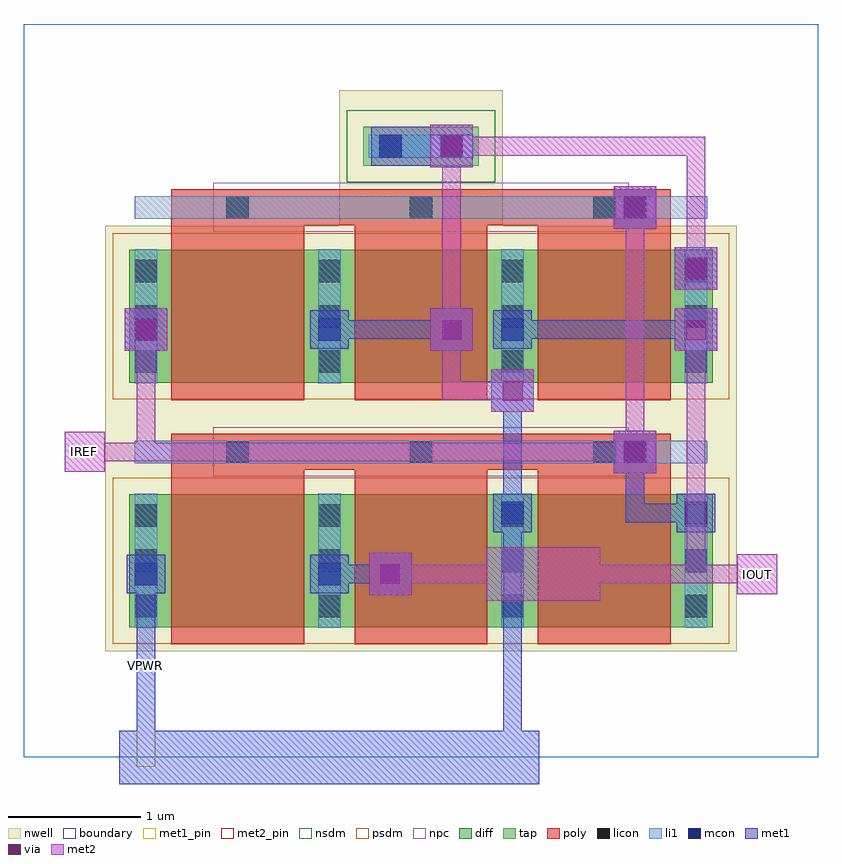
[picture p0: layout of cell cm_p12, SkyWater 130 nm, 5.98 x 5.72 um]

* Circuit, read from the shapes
.subckt cm_p12 IOUT IREF VPWR
XM1 IOUT IREF VPWR VPWR sky130_fd_pr__pfet_01v8 w=1 l=1 m=4
XM2 VPWR IREF IREF VPWR sky130_fd_pr__pfet_01v8 w=1 l=1 m=2
.ends

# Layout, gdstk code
import gdstk
lib = gdstk.Library(unit=1e-6, precision=1e-09)
def R(c, l, rs):  # rectangles x0, y0, x1, y1
    for r in rs: c.add(gdstk.rectangle(r[:2], r[2:], *l))
def A(c, l, x, y, w, h, nx, ny, dx, dy):  # array of equal rectangles
    R(c, l, [(x+i*dx, y+j*dy, x+i*dx+w, y+j*dy+h) for i in range(nx) for j in range(ny)])
nwell = (64, 20)
diff = (65, 20)
tap = (65, 44)
poly = (66, 20)
licon = (66, 44)
li1 = (67, 20)
mcon = (67, 44)
met1_pin = (68, 16)
met1 = (68, 20)
via = (68, 44)
met2_pin = (69, 16)
met2 = (69, 20)
nsdm = (93, 44)
psdm = (94, 20)
npc = (95, 20)
boundary = (235, 4)

cm_p12 = lib.new_cell('cm_p12')
R(cm_p12, nwell, [(0.615,0.8,5.365,4), (2.375,4,3.605,5.02)])
R(cm_p12, diff, [(0.795,0.98,5.185,1.98), (0.795,2.82,5.185,3.82)])
R(cm_p12, tap, [(2.555,4.455,3.425,4.745)])
A(cm_p12, poly, 1.11, 0.85, 1, 1.45, 3, 2, 1.38, 1.84)
R(cm_p12, poly, [(1.11,2.165,4.87,2.435), (1.11,4.005,4.87,4.275)])
A(cm_p12, licon, 0.835, 1.055, 0.17, 0.17, 4, 3, 1.38, 0.34)
A(cm_p12, licon, 1.525, 2.215, 0.17, 0.17, 3, 2, 1.38, 1.84)
A(cm_p12, licon, 0.835, 2.895, 0.17, 0.17, 4, 3, 1.38, 0.34)
R(cm_p12, licon, [(2.675,4.515,2.845,4.685), (3.135,4.515,3.305,4.685)])
A(cm_p12, li1, 0.835, 0.975, 0.17, 1.01, 4, 2, 1.38, 1.84)
R(cm_p12, li1, [(0.835,2.215,5.145,2.385), (0.835,4.055,5.145,4.225), (2.595,4.515,3.385,4.685)])
A(cm_p12, mcon, 0.835, 3.135, 0.17, 0.17, 3, 1, 1.38, 0)
R(cm_p12, mcon, [(0.835,1.295,1.005,1.465), (2.215,1.295,2.385,1.465), (3.595,1.755,3.765,1.925), (4.975,1.755,5.145,1.925), (4.515,2.215,4.685,2.385), (4.975,3.595,5.145,3.765), (4.515,4.055,4.685,4.225), (2.675,4.515,2.845,4.685), (3.135,4.515,3.305,4.685)])
R(cm_p12, met1_pin, [(0.85,-0.07,0.99,1.45)])
A(cm_p12, met1, 0.775, 3.075, 0.29, 0.29, 3, 1, 1.38, 0)
R(cm_p12, met1, [(0.72,-0.2,3.88,0.2), (0.85,-0.07,0.99,1.45), (3.61,-0.07,3.75,1.91), (2.6,1.22,2.92,1.54), (0.775,1.235,1.065,1.525), (2.155,1.235,2.445,1.525), (2.23,1.31,2.83,1.45), (3.535,1.695,3.825,1.985), (4.915,1.695,5.205,1.985), (3.61,1.77,3.75,2.83), (4.53,1.77,5.13,1.91), (4.53,1.77,4.67,2.37), (4.44,2.14,4.76,2.46), (4.455,2.155,4.745,2.445), (3.52,2.6,3.84,2.92), (0.76,3.06,1.08,3.38), (3.06,3.06,3.38,3.38), (4.9,3.06,5.22,3.38), (2.23,3.15,3.29,3.29), (3.61,3.15,5.13,3.29), (4.9,3.52,5.22,3.84), (4.915,3.535,5.205,3.825), (4.44,3.98,4.76,4.3), (4.455,3.995,4.745,4.285), (3.06,4.44,3.38,4.76), (2.615,4.455,3.365,4.745), (3.15,4.53,3.29,4.67)])
R(cm_p12, via, [(2.685,1.305,2.835,1.455), (4.525,2.225,4.675,2.375), (3.605,2.685,3.755,2.835), (0.845,3.145,0.995,3.295), (3.145,3.145,3.295,3.295), (4.985,3.145,5.135,3.295), (4.985,3.605,5.135,3.755), (4.525,4.065,4.675,4.215), (3.145,4.525,3.295,4.675)])
R(cm_p12, met2_pin, [(5.37,1.23,5.67,1.53), (0.31,2.15,0.61,2.45)])
R(cm_p12, met2, [(3.48,1.18,4.34,1.58), (2.6,1.22,2.92,1.54), (5.37,1.23,5.67,1.53), (2.69,1.31,3.75,1.45), (4.07,1.31,5.59,1.45), (4.99,1.31,5.13,3.29), (5.45,1.31,5.59,1.45), (4.44,2.14,4.76,2.46), (0.31,2.15,0.61,2.45), (0.39,2.23,0.53,2.37), (0.39,2.23,4.67,2.37), (0.85,2.23,0.99,3.29), (4.53,2.23,4.67,4.21), (3.52,2.6,3.84,2.92), (3.15,2.69,3.29,3.29), (3.15,2.69,3.75,2.83), (0.76,3.06,1.08,3.38), (3.06,3.06,3.38,3.38), (4.9,3.06,5.22,3.38), (3.15,3.15,3.29,4.67), (4.9,3.52,5.22,3.84), (4.99,3.61,5.13,4.67), (4.44,3.98,4.76,4.3), (3.06,4.44,3.38,4.76), (3.15,4.53,5.13,4.67)])
R(cm_p12, nsdm, [(2.43,4.33,3.55,4.87)])
R(cm_p12, psdm, [(0.67,0.855,5.31,2.105), (0.67,2.695,5.31,3.945)])
R(cm_p12, npc, [(1.425,2.115,4.555,2.485), (1.425,3.955,4.555,4.325)])
R(cm_p12, boundary, [(0,0,5.98,5.52)])
cm_p12.add(gdstk.Label('VPWR', (0.92,0.69), layer=68, texttype=5))
cm_p12.add(gdstk.Label('IREF', (0.46,2.3), layer=69, texttype=5))
cm_p12.add(gdstk.Label('IOUT', (5.52,1.38), layer=69, texttype=5))
cm_p12.add(gdstk.Label('VPWR', (0.92,0.69), layer=68, texttype=16))
cm_p12.add(gdstk.Label('IREF', (0.46,2.3), layer=69, texttype=16))
cm_p12.add(gdstk.Label('IOUT', (5.52,1.38), layer=69, texttype=16))

lib.write_gds('cm_p12.gds')
